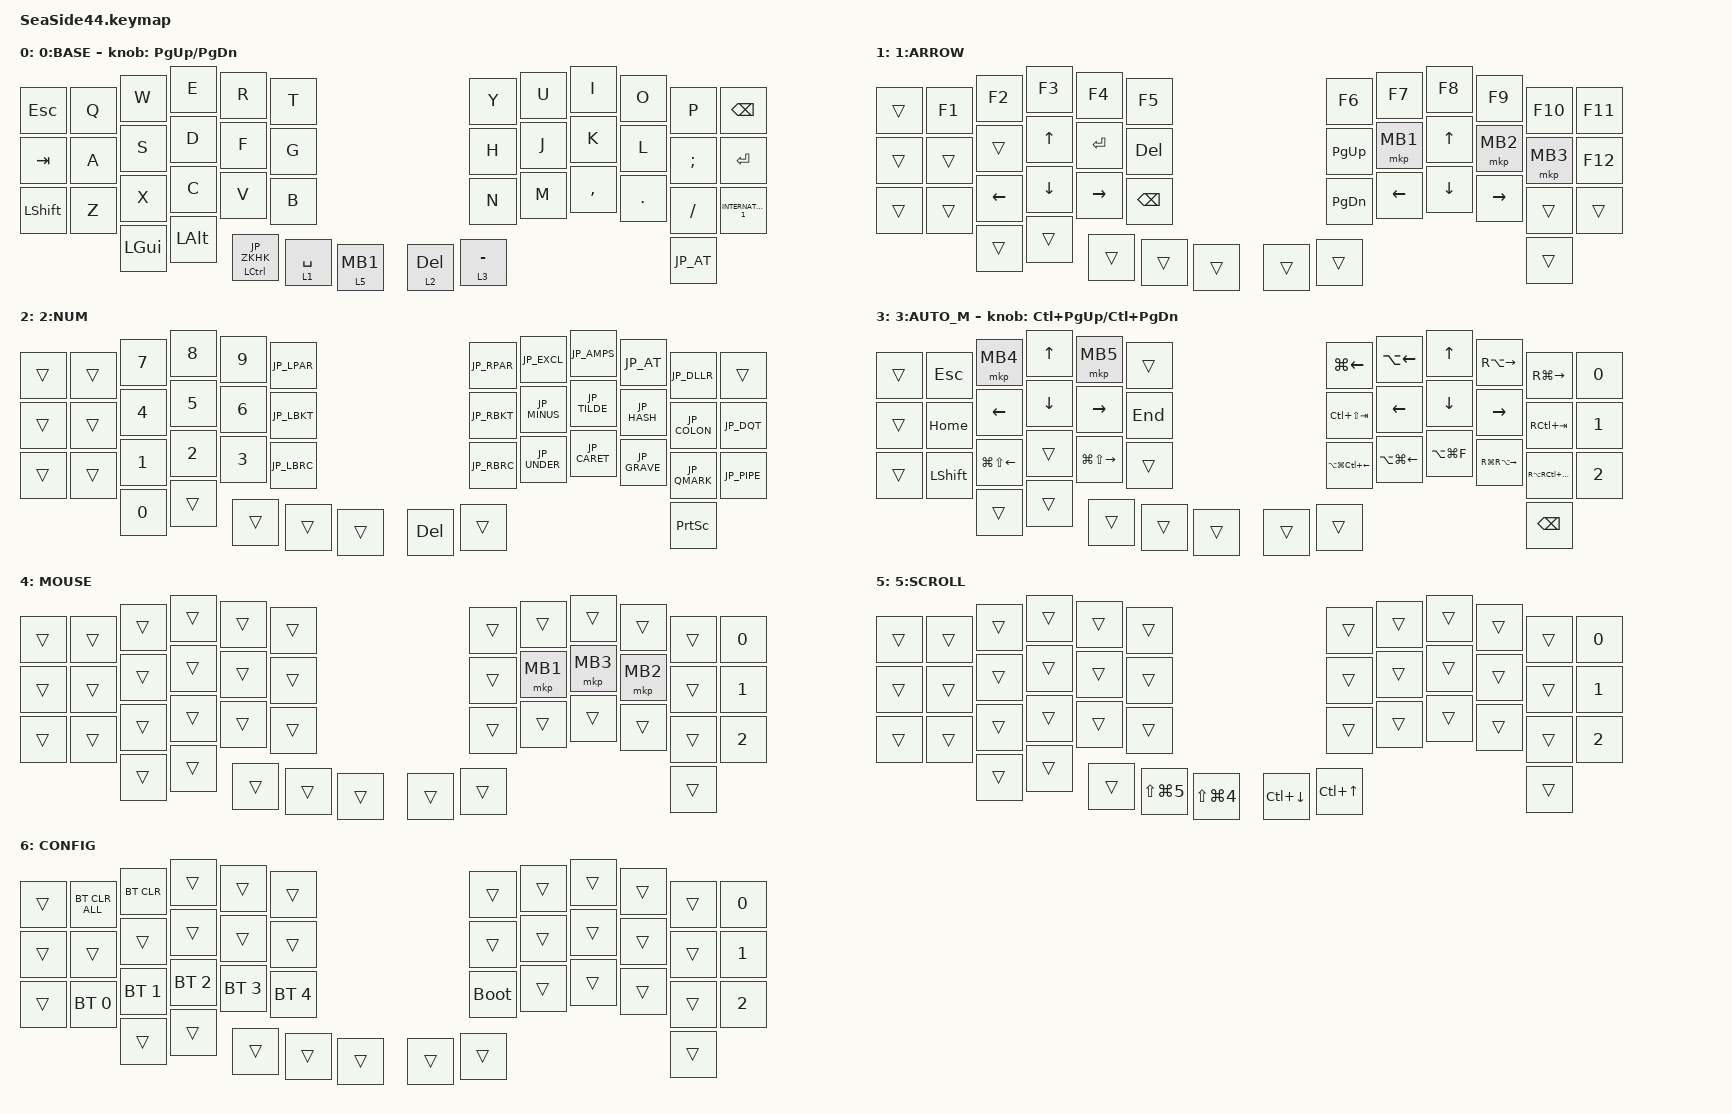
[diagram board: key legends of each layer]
#include <behaviors.dtsi>
#include <dt-bindings/zmk/bt.h>
#include <dt-bindings/zmk/keys.h>
#include <dt-bindings/zmk/pointing.h>
#include "keycode_japanese.h"

#define MOUSE 4
#define SCROLL 5
#define NUM 6

&mt {
    flavor = "balanced";
    quick-tap-ms = <300>;
};

&lt {
    flavor = "balanced";
    quick-tap-ms = <300>;
};

/ {
    combos { compatible = "zmk,combos"; };

    macros {
        to_layer_0: to_layer_0 {
            compatible = "zmk,behavior-macro-one-param";
            #binding-cells = <1>;
            bindings = <&to 0 &macro_param_1to1 &kp MACRO_PLACEHOLDER>;
            label = "TO_LAYER_0";
        };
    };

    behaviors {
        lt_to_layer_0: lt_to_layer_0 {
            compatible = "zmk,behavior-hold-tap";
            label = "LAYER_TAP_TO_0";
            bindings = <&mo>, <&to_layer_0>;

            #binding-cells = <2>;
            tapping-term-ms = <200>;
        };

        mb1_layer5: mb1_layer5 {
            compatible = "zmk,behavior-hold-tap";
            label = "MB1_LAYER5";
            bindings = <&mo>, <&mkp>;

            #binding-cells = <2>;
            tapping-term-ms = <200>;
        };
    };

    keymap {
        compatible = "zmk,keymap";

        default_layer {
            display-name = "0:BASE"; // for LCD display
            bindings = <
&kp ESCAPE  &kp Q  &kp W         &kp E         &kp R      &kp T                                           &kp Y        &kp U  &kp I      &kp O       &kp P          &kp BACKSPACE
&kp TAB     &kp A  &kp S         &kp D         &kp F      &kp G                                           &kp H        &kp J  &kp K      &kp L       &kp SEMICOLON  &kp ENTER
&kp LSHFT   &kp Z  &kp X         &kp C         &kp V      &kp B                                           &kp N        &kp M  &kp COMMA  &kp PERIOD  &kp SLASH      &kp INTERNATIONAL_1
                   &kp LEFT_GUI  &kp LEFT_ALT  &mt LCTL JP_ZKHK  &lt 1 SPACE  &mb1_layer5 5 MB1    &lt 2 DELETE  &lt 3 MINUS         &kp JP_AT
            >;

            sensor-bindings = <&inc_dec_kp PG_UP PAGE_DOWN>;
        };

        ARROW_MB {
            display-name = "1:ARROW"; // for LCD display
            bindings = <
&trans  &kp F1  &kp F2    &kp F3        &kp F4     &kp F5                           &kp F6         &kp F7    &kp F8        &kp F9     &kp F10   &kp F11
&trans  &trans  &trans    &kp UP_ARROW  &kp ENTER  &kp DELETE                       &kp PAGE_UP    &mkp MB1  &kp UP_ARROW  &mkp MB2   &mkp MB3  &kp F12
&trans  &trans  &kp LEFT  &kp DOWN      &kp RIGHT  &kp BACKSPACE                    &kp PAGE_DOWN  &kp LEFT  &kp DOWN      &kp RIGHT  &trans    &trans
                &trans    &trans        &trans     &trans         &trans    &trans  &trans                   &trans
            >;
        };

        NUM_SYMBOL {
            display-name = "2:NUM"; // for LCD display
            bindings = <
&trans  &trans  &kp N7        &kp N8        &kp N9        &kp JP_LPAR                        &kp JP_RPAR  &kp JP_EXCL   &kp JP_AMPS      &kp JP_AT     &kp JP_DLLR   &trans
&trans  &trans  &kp NUMBER_4  &kp N5        &kp NUMBER_6  &kp JP_LBKT                        &kp JP_RBKT  &kp JP_MINUS  &kp JP_TILDE     &kp JP_HASH   &kp JP_COLON  &kp JP_DQT
&trans  &trans  &kp NUMBER_1  &kp NUMBER_2  &kp NUMBER_3  &kp JP_LBRC                        &kp JP_RBRC  &kp JP_UNDER  &kp JP_CARET     &kp JP_GRAVE  &kp JP_QMARK  &kp JP_PIPE
                &kp NUMBER_0  &trans        &trans        &trans       &trans    &kp DELETE  &trans                     &kp PRINTSCREEN
            >;
        };

        ARROW {
            display-name = "3:AUTO_M"; // for LCD display
            bindings = <
&trans  &kp ESCAPE      &mkp MB4                &kp UP_ARROW    &mkp MB5                 &trans                     &kp LG(LEFT_ARROW)          &kp LA(LEFT_ARROW)      &kp UP_ARROW    &kp RA(RIGHT_ARROW)      &kp RG(RIGHT_ARROW)          &kp N0
&trans  &kp HOME        &kp LEFT_ARROW          &kp DOWN_ARROW  &kp RIGHT_ARROW          &kp END                    &kp LC(LS(TAB))             &kp LEFT_ARROW          &kp DOWN_ARROW  &kp RIGHT_ARROW          &kp RC(TAB)                  &kp N1
&trans  &kp LEFT_SHIFT  &kp LG(LS(LEFT_ARROW))  &trans          &kp LG(LS(RIGHT_ARROW))  &trans                     &kp LA(LG(LC(LEFT_ARROW)))  &kp LA(LG(LEFT_ARROW))  &kp LA(LG(F))   &kp RG(RA(RIGHT_ARROW))  &kp RA(RC(RG(RIGHT_ARROW)))  &kp N2
                        &trans                  &trans          &trans                   &trans   &trans    &trans  &trans                                              &kp BACKSPACE
            >;

            sensor-bindings = <&inc_dec_kp LC(PAGE_UP) LC(PAGE_DOWN)>;
        };

        MOUSE {
            bindings = <
&trans  &trans  &trans  &trans  &trans  &trans                    &trans  &trans    &trans    &trans    &trans  &kp N0
&trans  &trans  &trans  &trans  &trans  &trans                    &trans  &mkp MB1  &mkp MB3  &mkp MB2  &trans  &kp N1
&trans  &trans  &trans  &trans  &trans  &trans                    &trans  &trans    &trans    &trans    &trans  &kp N2
                &trans  &trans  &trans  &trans  &trans    &trans  &trans            &trans
            >;
        };

        SCROLL {
            display-name = "5:SCROLL"; // for LCD display
            bindings = <
&trans  &trans  &trans  &trans  &trans  &trans                                          &trans            &trans  &trans  &trans  &trans  &kp N0
&trans  &trans  &trans  &trans  &trans  &trans                                          &trans            &trans  &trans  &trans  &trans  &kp N1
&trans  &trans  &trans  &trans  &trans  &trans                                          &trans            &trans  &trans  &trans  &trans  &kp N2
                &trans  &trans  &trans  &kp LS(LG(N5))  &kp LS(LG(N4))    &kp LC(DOWN)  &kp LC(UP_ARROW)          &trans
            >;
        };

        CONFIG {
            bindings = <
&trans  &bt BT_CLR_ALL  &bt BT_CLR    &trans        &trans        &trans                          &trans       &trans  &trans  &trans  &trans  &kp N0
&trans  &trans          &trans        &trans        &trans        &trans                          &trans       &trans  &trans  &trans  &trans  &kp N1
&trans  &bt BT_SEL 0    &bt BT_SEL 1  &bt BT_SEL 2  &bt BT_SEL 3  &bt BT_SEL 4                    &bootloader  &trans  &trans  &trans  &trans  &kp N2
                        &trans        &trans        &trans        &trans        &trans    &trans  &trans               &trans
            >;
        };

    };
};
